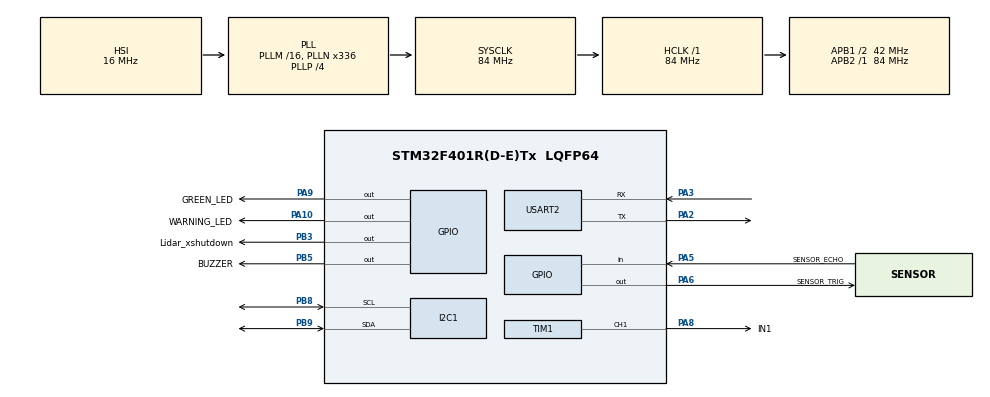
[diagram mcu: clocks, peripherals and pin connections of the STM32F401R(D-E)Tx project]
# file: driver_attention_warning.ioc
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Mcu.Family=STM32F4
Mcu.Name=STM32F401R(D-E)Tx
Mcu.Package=LQFP64
NVIC.PriorityGroup=NVIC_PRIORITYGROUP_0
NVIC.USART2_IRQn=true\:0\:0\:false\:false\:true\:true\:true\:true
PA10.GPIO_Label=WARNING_LED
PA10.Signal=GPIO_Output
PA2.Mode=Asynchronous
PA2.Signal=USART2_TX
PA3.Mode=Asynchronous
PA3.Signal=USART2_RX
PA5.GPIO_Label=SENSOR_ECHO
PA5.Signal=GPIO_Input
PA6.GPIO_Label=SENSOR_TRIG
PA6.Signal=GPIO_Output
PA8.GPIO_Label=IN1
PA8.Signal=S_TIM1_CH1
PA9.GPIO_Label=GREEN_LED
PA9.Signal=GPIO_Output
PB3.GPIO_Label=Lidar_xshutdown
PB3.Signal=GPIO_Output
PB5.GPIO_Label=BUZZER
PB5.Signal=GPIO_Output
PB8.Mode=I2C
PB8.Signal=I2C1_SCL
PB9.Mode=I2C
PB9.Signal=I2C1_SDA
ProjectManager.HeapSize=0x200
ProjectManager.StackSize=0x400
ProjectManager.TargetToolchain=STM32CubeIDE
RCC.AHBFreq_Value=84000000
RCC.APB1CLKDivider=RCC_HCLK_DIV2
RCC.APB1Freq_Value=42000000
RCC.APB1TimFreq_Value=84000000
RCC.APB2Freq_Value=84000000
RCC.APB2TimFreq_Value=84000000
RCC.CortexFreq_Value=84000000
RCC.HCLKFreq_Value=84000000
RCC.HSE_VALUE=8000000
RCC.HSI_VALUE=16000000
RCC.LSE_VALUE=32768
RCC.PLLN=336
RCC.PLLP=RCC_PLLP_DIV4
RCC.PLLQ=7
RCC.SYSCLKFreq_VALUE=84000000
RCC.SYSCLKSource=RCC_SYSCLKSOURCE_PLLCLK
RCC.VCOOutputFreq_Value=336000000
SH.S_TIM1_CH1.0=TIM1_CH1,PWM Generation1 CH1
TIM1.Channel-PWM\ Generation1\ CH1=TIM_CHANNEL_1
TIM1.Period=999
TIM1.Prescaler=79
USART2.VirtualMode=VM_ASYNC
board=NUCLEO-F401RE

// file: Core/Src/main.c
/* USER CODE BEGIN Header */
/**
  ******************************************************************************
  * @file           : main.c
  * @brief          : Main program body
  ******************************************************************************
  * @attention
  *
  * Copyright (c) 2025 STMicroelectronics.
  * All rights reserved.
  *
  * This software is licensed under terms that can be found in the LICENSE file
  * in the root directory of this software component.
  * If no LICENSE file comes with this software, it is provided AS-IS.
  *
  ******************************************************************************
  */
/* USER CODE END Header */
#include "main.h"

/* USER CODE BEGIN Includes */
#include <string.h>
#include <stdio.h>
#include "vl53l0x_api.h"

/* USER CODE END Includes */

/* USER CODE BEGIN PD */
#define STATUS_ATTENTIVE   48  // ASCII '0'
#define STATUS_DROWSY      49  // ASCII '1'
#define STATUS_DISTRACTED  50  // ASCII '2'
#define STATUS_NO_FACE     51  // ASCII '3'
/* USER CODE END PD */

I2C_HandleTypeDef hi2c1;

TIM_HandleTypeDef htim1;

UART_HandleTypeDef huart2;

/* USER CODE BEGIN PV */
uint8_t rx_data;
volatile uint8_t driver_status = 0;
volatile uint16_t distance = 0 ;
VL53L0X_RangingMeasurementData_t RangingData;
VL53L0X_Dev_t  vl53l0x_c;
VL53L0X_DEV Dev = &vl53l0x_c;
/* USER CODE END PV */

void SystemClock_Config(void);
static void MX_GPIO_Init(void);
static void MX_USART2_UART_Init(void);
static void MX_I2C1_Init(void);
static void MX_TIM1_Init(void);

/* USER CODE BEGIN 0 */
void LidarInit() {
	uint32_t refSpadCount;
	uint8_t isApertureSpads;
	uint8_t VhvSettings;
	uint8_t PhaseCal;
	VL53L0X_WaitDeviceBooted( Dev );
	VL53L0X_DataInit( Dev );
	VL53L0X_StaticInit( Dev );
	VL53L0X_PerformRefCalibration(Dev, &VhvSettings, &PhaseCal);
	VL53L0X_PerformRefSpadManagement(Dev, &refSpadCount, &isApertureSpads);
	VL53L0X_SetDeviceMode(Dev, VL53L0X_DEVICEMODE_SINGLE_RANGING);

	VL53L0X_SetLimitCheckEnable(Dev, VL53L0X_CHECKENABLE_SIGMA_FINAL_RANGE, 1);
	VL53L0X_SetLimitCheckEnable(Dev, VL53L0X_CHECKENABLE_SIGNAL_RATE_FINAL_RANGE, 1);
	VL53L0X_SetLimitCheckValue(Dev, VL53L0X_CHECKENABLE_SIGNAL_RATE_FINAL_RANGE, (FixPoint1616_t)(0.1*65536));
	VL53L0X_SetLimitCheckValue(Dev, VL53L0X_CHECKENABLE_SIGMA_FINAL_RANGE, (FixPoint1616_t)(60*65536));
	VL53L0X_SetMeasurementTimingBudgetMicroSeconds(Dev, 33000);
	VL53L0X_SetVcselPulsePeriod(Dev, VL53L0X_VCSEL_PERIOD_PRE_RANGE, 18);
	VL53L0X_SetVcselPulsePeriod(Dev, VL53L0X_VCSEL_PERIOD_FINAL_RANGE, 14);
}
/* USER CODE END 0 */

int main(void)
{

  /* MCU Configuration--------------------------------------------------------*/

  /* Reset of all peripherals, Initializes the Flash interface and the Systick. */
  HAL_Init();

  /* Configure the system clock */
  SystemClock_Config();

  /* Initialize all configured peripherals */
  MX_GPIO_Init();
  MX_USART2_UART_Init();
  MX_I2C1_Init();
  MX_TIM1_Init();
  /* USER CODE BEGIN 2 */
  HAL_TIM_PWM_Start(&htim1, TIM_CHANNEL_1);
  HAL_UART_Receive_IT(&huart2, &rx_data, 1);
  Dev->I2cHandle = &hi2c1;
      Dev->I2cDevAddr = 0x52;

      HAL_GPIO_WritePin(Lidar_xshutdown_GPIO_Port, Lidar_xshutdown_Pin, GPIO_PIN_RESET);
         HAL_Delay(20);
         HAL_GPIO_WritePin(Lidar_xshutdown_GPIO_Port, Lidar_xshutdown_Pin, GPIO_PIN_SET);
         HAL_Delay(20);
         // Extra bootup time
         LidarInit();
      VL53L0X_SetDeviceAddress(Dev, 0x62);
      Dev->I2cDevAddr = 0x62;

  /* USER CODE END 2 */

  /* Infinite loop */
  /* USER CODE BEGIN WHILE */
  while (1)
  {  VL53L0X_PerformSingleRangingMeasurement(Dev, &RangingData);
   distance = RangingData.RangeMilliMeter;
	  if (driver_status==STATUS_DISTRACTED  || driver_status==STATUS_NO_FACE  ){
		  static uint32_t lastTick = 0;

		  		    if (HAL_GetTick() - lastTick >= 200)
		  		    {
		  		        lastTick = HAL_GetTick();

		  		        HAL_GPIO_TogglePin(GPIOB, BUZZER_Pin);
		  		        HAL_GPIO_TogglePin(GPIOA, WARNING_LED_Pin);
		  		      HAL_GPIO_WritePin(GPIOA , GREEN_LED_Pin , GPIO_PIN_RESET) ;
		  		    }
		  		  if (distance< 100) {
		  			      __HAL_TIM_SET_COMPARE(&htim1, TIM_CHANNEL_1, 0);       // STOP
		  			  }
		  			  else if (distance < 200) {
		  			      __HAL_TIM_SET_COMPARE(&htim1, TIM_CHANNEL_1, 300);    // 30%
		  			  }
		  			  else if (distance < 400) {
		  			      __HAL_TIM_SET_COMPARE(&htim1, TIM_CHANNEL_1, 500);    // 50%
		  			  }
		  			  else if (distance< 700) {
		  			      __HAL_TIM_SET_COMPARE(&htim1, TIM_CHANNEL_1, 750);    // 75%
		  			  }
		  			  else {
		  			      __HAL_TIM_SET_COMPARE(&htim1, TIM_CHANNEL_1, 999);    // 100%
		  			  }
	  }
	  else if(driver_status==STATUS_DROWSY ){
		  HAL_GPIO_WritePin(GPIOB , BUZZER_Pin , GPIO_PIN_SET) ;
		 		  HAL_GPIO_WritePin(GPIOA , WARNING_LED_Pin , GPIO_PIN_SET) ;
		 		 HAL_GPIO_WritePin(GPIOA , GREEN_LED_Pin , GPIO_PIN_RESET) ;
		 		  if (distance < 100) {
		 			      __HAL_TIM_SET_COMPARE(&htim1, TIM_CHANNEL_1, 0);       // STOP
		 			  }
		 			  else if (distance < 200) {
		 			      __HAL_TIM_SET_COMPARE(&htim1, TIM_CHANNEL_1, 250);    // 25%
		 			  }
		 			  else if (distance < 400) {
		 			      __HAL_TIM_SET_COMPARE(&htim1, TIM_CHANNEL_1, 400);    // 40%
		 			  }
		 			  else if (distance < 700) {
		 			      __HAL_TIM_SET_COMPARE(&htim1, TIM_CHANNEL_1, 600);    // 60%
		 			  }
		 			  else {
		 			      __HAL_TIM_SET_COMPARE(&htim1, TIM_CHANNEL_1, 800);    // 100%
		 			  }
	  }

	  else {
		  __HAL_TIM_SET_COMPARE(&htim1, TIM_CHANNEL_1, 999) ;

			  HAL_GPIO_WritePin(GPIOA , GREEN_LED_Pin , GPIO_PIN_RESET) ;
			  HAL_GPIO_WritePin(GPIOB , BUZZER_Pin , GPIO_PIN_RESET);
			  HAL_GPIO_WritePin(GPIOA , WARNING_LED_Pin , GPIO_PIN_RESET) ;

	  }

    /* USER CODE END WHILE */

 }
}

void SystemClock_Config(void)
{
  RCC_OscInitTypeDef RCC_OscInitStruct = {0};
  RCC_ClkInitTypeDef RCC_ClkInitStruct = {0};

  /** Configure the main internal regulator output voltage
  */
  __HAL_RCC_PWR_CLK_ENABLE();
  __HAL_PWR_VOLTAGESCALING_CONFIG(PWR_REGULATOR_VOLTAGE_SCALE2);

  /** Initializes the RCC Oscillators according to the specified parameters
  * in the RCC_OscInitTypeDef structure.
  */
  RCC_OscInitStruct.OscillatorType = RCC_OSCILLATORTYPE_HSI;
  RCC_OscInitStruct.HSIState = RCC_HSI_ON;
  RCC_OscInitStruct.HSICalibrationValue = RCC_HSICALIBRATION_DEFAULT;
  RCC_OscInitStruct.PLL.PLLState = RCC_PLL_ON;
  RCC_OscInitStruct.PLL.PLLSource = RCC_PLLSOURCE_HSI;
  RCC_OscInitStruct.PLL.PLLM = 16;
  RCC_OscInitStruct.PLL.PLLN = 336;
  RCC_OscInitStruct.PLL.PLLP = RCC_PLLP_DIV4;
  RCC_OscInitStruct.PLL.PLLQ = 7;
  if (HAL_RCC_OscConfig(&RCC_OscInitStruct) != HAL_OK)
  {
    Error_Handler();
  }

  /** Initializes the CPU, AHB and APB buses clocks
  */
  RCC_ClkInitStruct.ClockType = RCC_CLOCKTYPE_HCLK|RCC_CLOCKTYPE_SYSCLK
                              |RCC_CLOCKTYPE_PCLK1|RCC_CLOCKTYPE_PCLK2;
  RCC_ClkInitStruct.SYSCLKSource = RCC_SYSCLKSOURCE_PLLCLK;
  RCC_ClkInitStruct.AHBCLKDivider = RCC_SYSCLK_DIV1;
  RCC_ClkInitStruct.APB1CLKDivider = RCC_HCLK_DIV2;
  RCC_ClkInitStruct.APB2CLKDivider = RCC_HCLK_DIV1;

  if (HAL_RCC_ClockConfig(&RCC_ClkInitStruct, FLASH_LATENCY_2) != HAL_OK)
  {
    Error_Handler();
  }
}

static void MX_I2C1_Init(void)
{

  hi2c1.Instance = I2C1;
  hi2c1.Init.ClockSpeed = 100000;
  hi2c1.Init.DutyCycle = I2C_DUTYCYCLE_2;
  hi2c1.Init.OwnAddress1 = 0;
  hi2c1.Init.AddressingMode = I2C_ADDRESSINGMODE_7BIT;
  hi2c1.Init.DualAddressMode = I2C_DUALADDRESS_DISABLE;
  hi2c1.Init.OwnAddress2 = 0;
  hi2c1.Init.GeneralCallMode = I2C_GENERALCALL_DISABLE;
  hi2c1.Init.NoStretchMode = I2C_NOSTRETCH_DISABLE;
  if (HAL_I2C_Init(&hi2c1) != HAL_OK)
  {
    Error_Handler();
  }

}

static void MX_TIM1_Init(void)
{

  TIM_MasterConfigTypeDef sMasterConfig = {0};
  TIM_OC_InitTypeDef sConfigOC = {0};
  TIM_BreakDeadTimeConfigTypeDef sBreakDeadTimeConfig = {0};

  htim1.Instance = TIM1;
  htim1.Init.Prescaler = 79;
  htim1.Init.CounterMode = TIM_COUNTERMODE_UP;
  htim1.Init.Period = 999;
  htim1.Init.ClockDivision = TIM_CLOCKDIVISION_DIV1;
  htim1.Init.RepetitionCounter = 0;
  htim1.Init.AutoReloadPreload = TIM_AUTORELOAD_PRELOAD_DISABLE;
  if (HAL_TIM_PWM_Init(&htim1) != HAL_OK)
  {
    Error_Handler();
  }
  sMasterConfig.MasterOutputTrigger = TIM_TRGO_RESET;
  sMasterConfig.MasterSlaveMode = TIM_MASTERSLAVEMODE_DISABLE;
  if (HAL_TIMEx_MasterConfigSynchronization(&htim1, &sMasterConfig) != HAL_OK)
  {
    Error_Handler();
  }
  sConfigOC.OCMode = TIM_OCMODE_PWM1;
  sConfigOC.Pulse = 0;
  sConfigOC.OCPolarity = TIM_OCPOLARITY_HIGH;
  sConfigOC.OCNPolarity = TIM_OCNPOLARITY_HIGH;
  sConfigOC.OCFastMode = TIM_OCFAST_DISABLE;
  sConfigOC.OCIdleState = TIM_OCIDLESTATE_RESET;
  sConfigOC.OCNIdleState = TIM_OCNIDLESTATE_RESET;
  if (HAL_TIM_PWM_ConfigChannel(&htim1, &sConfigOC, TIM_CHANNEL_1) != HAL_OK)
  {
    Error_Handler();
  }
  sBreakDeadTimeConfig.OffStateRunMode = TIM_OSSR_DISABLE;
  sBreakDeadTimeConfig.OffStateIDLEMode = TIM_OSSI_DISABLE;
  sBreakDeadTimeConfig.LockLevel = TIM_LOCKLEVEL_OFF;
  sBreakDeadTimeConfig.DeadTime = 0;
  sBreakDeadTimeConfig.BreakState = TIM_BREAK_DISABLE;
  sBreakDeadTimeConfig.BreakPolarity = TIM_BREAKPOLARITY_HIGH;
  sBreakDeadTimeConfig.AutomaticOutput = TIM_AUTOMATICOUTPUT_DISABLE;
  if (HAL_TIMEx_ConfigBreakDeadTime(&htim1, &sBreakDeadTimeConfig) != HAL_OK)
  {
    Error_Handler();
  }
  HAL_TIM_MspPostInit(&htim1);

}

static void MX_USART2_UART_Init(void)
{

  huart2.Instance = USART2;
  huart2.Init.BaudRate = 115200;
  huart2.Init.WordLength = UART_WORDLENGTH_8B;
  huart2.Init.StopBits = UART_STOPBITS_1;
  huart2.Init.Parity = UART_PARITY_NONE;
  huart2.Init.Mode = UART_MODE_TX_RX;
  huart2.Init.HwFlowCtl = UART_HWCONTROL_NONE;
  huart2.Init.OverSampling = UART_OVERSAMPLING_16;
  if (HAL_UART_Init(&huart2) != HAL_OK)
  {
    Error_Handler();
  }

}

static void MX_GPIO_Init(void)
{
  GPIO_InitTypeDef GPIO_InitStruct = {0};

  /* GPIO Ports Clock Enable */
  __HAL_RCC_GPIOA_CLK_ENABLE();
  __HAL_RCC_GPIOB_CLK_ENABLE();

  /*Configure GPIO pin Output Level */
  HAL_GPIO_WritePin(GPIOA, SENSOR_TRIG_Pin|GREEN_LED_Pin|WARNING_LED_Pin, GPIO_PIN_RESET);

  /*Configure GPIO pin Output Level */
  HAL_GPIO_WritePin(GPIOB, Lidar_xshutdown_Pin|BUZZER_Pin, GPIO_PIN_RESET);

  /*Configure GPIO pin : SENSOR_ECHO_Pin */
  GPIO_InitStruct.Pin = SENSOR_ECHO_Pin;
  GPIO_InitStruct.Mode = GPIO_MODE_INPUT;
  GPIO_InitStruct.Pull = GPIO_NOPULL;
  HAL_GPIO_Init(SENSOR_ECHO_GPIO_Port, &GPIO_InitStruct);

  /*Configure GPIO pins : SENSOR_TRIG_Pin GREEN_LED_Pin WARNING_LED_Pin */
  GPIO_InitStruct.Pin = SENSOR_TRIG_Pin|GREEN_LED_Pin|WARNING_LED_Pin;
  GPIO_InitStruct.Mode = GPIO_MODE_OUTPUT_PP;
  GPIO_InitStruct.Pull = GPIO_NOPULL;
  GPIO_InitStruct.Speed = GPIO_SPEED_FREQ_LOW;
  HAL_GPIO_Init(GPIOA, &GPIO_InitStruct);

  /*Configure GPIO pins : Lidar_xshutdown_Pin BUZZER_Pin */
  GPIO_InitStruct.Pin = Lidar_xshutdown_Pin|BUZZER_Pin;
  GPIO_InitStruct.Mode = GPIO_MODE_OUTPUT_PP;
  GPIO_InitStruct.Pull = GPIO_NOPULL;
  GPIO_InitStruct.Speed = GPIO_SPEED_FREQ_LOW;
  HAL_GPIO_Init(GPIOB, &GPIO_InitStruct);

}

/* USER CODE BEGIN 4 */
// UART Receive Complete Callback
void HAL_UART_RxCpltCallback(UART_HandleTypeDef *huart) {
    if(huart->Instance == USART2) {
        driver_status = rx_data;  // Store received byte

        // Re-enable interrupt for next byte
        HAL_UART_Receive_IT(&huart2, &rx_data, 1);
    }
}
/* USER CODE END 4 */

void Error_Handler(void)
{
  __disable_irq();
  while (1)
  {
  }
}
